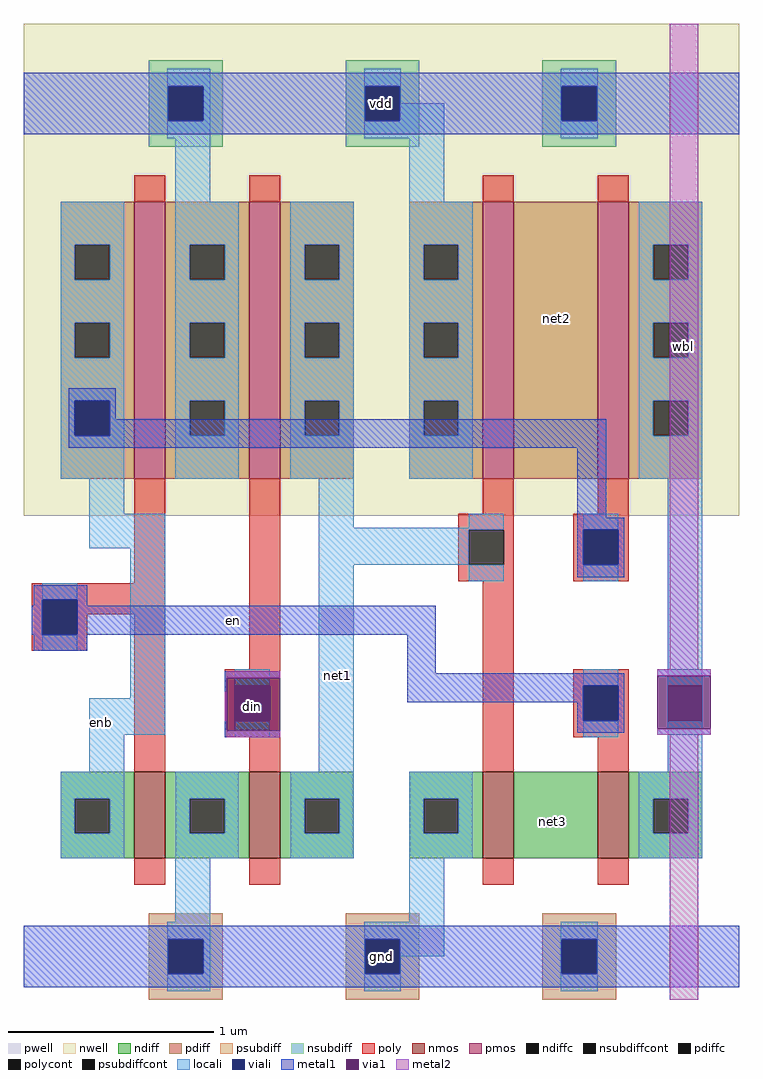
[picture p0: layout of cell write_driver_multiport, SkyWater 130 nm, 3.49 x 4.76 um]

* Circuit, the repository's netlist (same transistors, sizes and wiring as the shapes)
* SPICE3 file created from write_driver_multiport.ext - technology: sky130A


.subckt write_driver_multiport din en wbl vdd gnd
X0 wbl enb net2 vdd sky130_fd_pr__pfet_01v8 ad=0 pd=0 as=0 ps=0 w=1.35 l=0.15
X1 net1 din vdd vdd sky130_fd_pr__pfet_01v8 ad=0 pd=0 as=0 ps=0 w=1.35 l=0.15
X2 net2 net1 vdd vdd sky130_fd_pr__pfet_01v8 ad=0 pd=0 as=0 ps=0 w=1.35 l=0.15
X3 net3 net1 gnd gnd sky130_fd_pr__nfet_01v8 ad=0 pd=0 as=0 ps=0 w=0.42 l=0.15
X4 vdd en enb vdd sky130_fd_pr__pfet_01v8 ad=0 pd=0 as=0 ps=0 w=1.35 l=0.15
X5 net1 din gnd gnd sky130_fd_pr__nfet_01v8 ad=0 pd=0 as=0 ps=0 w=0.42 l=0.15
X6 wbl en net3 gnd sky130_fd_pr__nfet_01v8 ad=0 pd=0 as=0 ps=0 w=0.42 l=0.15
X7 gnd en enb gnd sky130_fd_pr__nfet_01v8 ad=0 pd=0 as=0 ps=0 w=0.42 l=0.15
.ends

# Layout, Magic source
magic
tech sky130A
magscale 1 2
<< nwell >>
rect 0 472 698 952
<< pwell >>
rect 122 0 194 84
rect 314 0 386 84
rect 506 0 578 84
<< nmos >>
rect 108 138 138 222
rect 220 138 250 222
rect 448 138 478 222
rect 560 138 590 222
<< pmos >>
rect 108 508 138 778
rect 220 508 250 778
rect 448 508 478 778
rect 560 508 590 778
<< ndiff >>
rect 36 196 108 222
rect 36 162 50 196
rect 84 162 108 196
rect 36 138 108 162
rect 138 196 220 222
rect 138 162 162 196
rect 196 162 220 196
rect 138 138 220 162
rect 250 196 322 222
rect 250 162 274 196
rect 308 162 322 196
rect 250 138 322 162
rect 376 196 448 222
rect 376 162 390 196
rect 424 162 448 196
rect 376 138 448 162
rect 478 138 560 222
rect 590 196 662 222
rect 590 162 614 196
rect 648 162 662 196
rect 590 138 662 162
<< pdiff >>
rect 36 736 108 778
rect 36 702 50 736
rect 84 702 108 736
rect 36 660 108 702
rect 36 626 50 660
rect 84 626 108 660
rect 36 584 108 626
rect 36 550 50 584
rect 84 550 108 584
rect 36 508 108 550
rect 138 736 220 778
rect 138 702 162 736
rect 196 702 220 736
rect 138 660 220 702
rect 138 626 162 660
rect 196 626 220 660
rect 138 584 220 626
rect 138 550 162 584
rect 196 550 220 584
rect 138 508 220 550
rect 250 736 322 778
rect 250 702 274 736
rect 308 702 322 736
rect 250 660 322 702
rect 250 626 274 660
rect 308 626 322 660
rect 250 584 322 626
rect 250 550 274 584
rect 308 550 322 584
rect 250 508 322 550
rect 376 736 448 778
rect 376 702 390 736
rect 424 702 448 736
rect 376 660 448 702
rect 376 626 390 660
rect 424 626 448 660
rect 376 584 448 626
rect 376 550 390 584
rect 424 550 448 584
rect 376 508 448 550
rect 478 508 560 778
rect 590 736 662 778
rect 590 702 614 736
rect 648 702 662 736
rect 590 660 662 702
rect 590 626 614 660
rect 648 626 662 660
rect 590 584 662 626
rect 590 550 614 584
rect 648 550 662 584
rect 590 508 662 550
<< ndiffc >>
rect 50 162 84 196
rect 162 162 196 196
rect 274 162 308 196
rect 390 162 424 196
rect 614 162 648 196
<< pdiffc >>
rect 50 702 84 736
rect 50 626 84 660
rect 50 550 84 584
rect 162 702 196 736
rect 162 626 196 660
rect 162 550 196 584
rect 274 702 308 736
rect 274 626 308 660
rect 274 550 308 584
rect 390 702 424 736
rect 390 626 424 660
rect 390 550 424 584
rect 614 702 648 736
rect 614 626 648 660
rect 614 550 648 584
<< psubdiff >>
rect 122 59 194 84
rect 122 25 141 59
rect 175 25 194 59
rect 122 0 194 25
rect 314 59 386 84
rect 314 25 333 59
rect 367 25 386 59
rect 314 0 386 25
rect 506 59 578 84
rect 506 25 525 59
rect 559 25 578 59
rect 506 0 578 25
<< nsubdiff >>
rect 122 891 194 916
rect 122 857 141 891
rect 175 857 194 891
rect 122 832 194 857
rect 314 891 386 916
rect 314 857 333 891
rect 367 857 386 891
rect 314 832 386 857
rect 506 891 578 916
rect 506 857 525 891
rect 559 857 578 891
rect 506 832 578 857
<< psubdiffcont >>
rect 141 25 175 59
rect 333 25 367 59
rect 525 25 559 59
<< nsubdiffcont >>
rect 141 857 175 891
rect 333 857 367 891
rect 525 857 559 891
<< poly >>
rect 108 778 138 804
rect 220 778 250 804
rect 448 778 478 804
rect 560 778 590 804
rect 108 406 138 508
rect 8 390 138 406
rect 8 356 18 390
rect 52 376 138 390
rect 52 356 62 376
rect 8 340 62 356
rect 108 222 138 376
rect 220 322 250 508
rect 448 474 478 508
rect 560 474 590 508
rect 424 458 478 474
rect 424 424 434 458
rect 468 424 478 458
rect 424 408 478 424
rect 536 458 590 474
rect 536 424 546 458
rect 580 424 590 458
rect 536 408 590 424
rect 196 306 250 322
rect 196 272 206 306
rect 240 272 250 306
rect 196 256 250 272
rect 220 222 250 256
rect 448 222 478 408
rect 536 306 590 322
rect 536 272 546 306
rect 580 272 590 306
rect 536 256 590 272
rect 560 222 590 256
rect 108 112 138 138
rect 220 112 250 138
rect 448 112 478 138
rect 560 112 590 138
<< polycont >>
rect 18 356 52 390
rect 434 424 468 458
rect 546 424 580 458
rect 206 272 240 306
rect 546 272 580 306
<< locali >>
rect 140 891 182 908
rect 140 857 141 891
rect 175 857 182 891
rect 140 840 182 857
rect 332 891 368 908
rect 332 857 333 891
rect 367 874 368 891
rect 524 891 560 908
rect 367 857 410 874
rect 332 840 410 857
rect 524 857 525 891
rect 559 857 560 891
rect 524 840 560 857
rect 148 778 182 840
rect 376 778 410 840
rect 36 736 98 778
rect 36 702 50 736
rect 84 702 98 736
rect 36 660 98 702
rect 36 626 50 660
rect 84 626 98 660
rect 36 584 98 626
rect 36 550 50 584
rect 84 550 98 584
rect 36 508 98 550
rect 148 736 210 778
rect 148 702 162 736
rect 196 702 210 736
rect 148 660 210 702
rect 148 626 162 660
rect 196 626 210 660
rect 148 584 210 626
rect 148 550 162 584
rect 196 550 210 584
rect 148 508 210 550
rect 260 736 322 778
rect 260 702 274 736
rect 308 702 322 736
rect 260 660 322 702
rect 260 626 274 660
rect 308 626 322 660
rect 260 584 322 626
rect 260 550 274 584
rect 308 550 322 584
rect 260 508 322 550
rect 376 736 438 778
rect 376 702 390 736
rect 424 702 438 736
rect 376 660 438 702
rect 376 626 390 660
rect 424 626 438 660
rect 376 584 438 626
rect 376 550 390 584
rect 424 550 438 584
rect 376 508 438 550
rect 600 736 662 778
rect 600 702 614 736
rect 648 702 662 736
rect 600 660 662 702
rect 600 626 614 660
rect 648 626 662 660
rect 600 584 662 626
rect 600 550 614 584
rect 648 550 662 584
rect 600 508 662 550
rect 64 474 98 508
rect 64 440 138 474
rect 18 390 52 406
rect 18 340 52 356
rect 104 294 138 440
rect 288 460 322 508
rect 434 460 468 474
rect 288 458 468 460
rect 288 424 434 458
rect 64 258 138 294
rect 206 306 240 322
rect 64 222 98 258
rect 206 256 240 272
rect 288 222 322 424
rect 434 408 468 424
rect 546 458 580 474
rect 546 408 580 424
rect 546 306 580 322
rect 546 256 580 272
rect 628 306 662 508
rect 628 222 662 272
rect 36 196 98 222
rect 36 162 50 196
rect 84 162 98 196
rect 36 138 98 162
rect 148 196 210 222
rect 148 162 162 196
rect 196 162 210 196
rect 148 138 210 162
rect 260 196 322 222
rect 260 162 274 196
rect 308 162 322 196
rect 260 138 322 162
rect 376 196 438 222
rect 376 162 390 196
rect 424 162 438 196
rect 376 138 438 162
rect 600 196 662 222
rect 600 162 614 196
rect 648 162 662 196
rect 600 138 662 162
rect 148 76 182 138
rect 376 76 410 138
rect 140 59 182 76
rect 140 25 141 59
rect 175 25 182 59
rect 140 8 182 25
rect 332 59 410 76
rect 332 25 333 59
rect 367 42 410 59
rect 524 59 560 76
rect 367 25 368 42
rect 332 8 368 25
rect 524 25 525 59
rect 559 25 560 59
rect 524 8 560 25
<< viali >>
rect 141 857 175 891
rect 333 857 367 891
rect 525 857 559 891
rect 50 550 84 584
rect 18 356 52 390
rect 206 272 240 306
rect 546 424 580 458
rect 546 272 580 306
rect 628 272 662 306
rect 141 25 175 59
rect 333 25 367 59
rect 525 25 559 59
<< metal1 >>
rect 0 891 698 904
rect 0 857 141 891
rect 175 857 333 891
rect 367 857 525 891
rect 559 857 698 891
rect 0 844 698 857
rect 44 584 90 596
rect 44 550 50 584
rect 84 566 90 584
rect 84 550 568 566
rect 44 538 568 550
rect 540 470 568 538
rect 540 458 586 470
rect 540 424 546 458
rect 580 424 586 458
rect 540 412 586 424
rect 10 390 62 404
rect 10 384 18 390
rect 8 356 18 384
rect 52 384 62 390
rect 52 356 402 384
rect 10 340 62 356
rect 196 314 250 320
rect 196 262 198 314
rect 374 318 402 356
rect 374 306 586 318
rect 374 290 546 306
rect 196 256 250 262
rect 540 272 546 290
rect 580 272 586 306
rect 540 260 586 272
rect 618 316 670 322
rect 618 258 670 264
rect 0 59 698 72
rect 0 25 141 59
rect 175 25 333 59
rect 367 25 525 59
rect 559 25 698 59
rect 0 12 698 25
<< via1 >>
rect 198 306 250 314
rect 198 272 206 306
rect 206 272 240 306
rect 240 272 250 306
rect 198 262 250 272
rect 618 306 670 316
rect 618 272 628 306
rect 628 272 662 306
rect 662 272 670 306
rect 618 264 670 272
<< metal2 >>
rect 630 322 658 952
rect 198 314 250 320
rect 196 272 198 300
rect 198 256 250 262
rect 618 316 670 322
rect 618 258 670 264
rect 630 0 658 258
<< labels >>
rlabel locali s 76 270 76 270 4 enb
rlabel locali s 306 316 306 316 4 net1
rlabel mvpsubdiff s 520 664 520 664 4 net2
rlabel mvpsubdiff s 516 174 516 174 4 net3
rlabel metal2 s 196 272 250 300 4 din
port 1 nsew
rlabel metal1 s 0 844 698 904 4 vdd
port 2 nsew
rlabel metal1 s 0 12 698 72 4 gnd
port 3 nsew
rlabel metal1 s 8 356 402 384 4 en
port 4 nsew
rlabel metal2 s 630 322 658 952 4 wbl
port 5 nsew
rlabel metal2 s 223 286 223 286 4 din
rlabel metal1 s 205 370 205 370 4 en
rlabel metal2 s 644 637 644 637 4 wbl
rlabel metal1 s 349 874 349 874 4 vdd
rlabel metal1 s 349 42 349 42 4 gnd
<< properties >>
string FIXED_BBOX 0 0 698 952
string GDS_FILE sram_0rw2r1w_4_16_sky130A.gds
string GDS_END 230060
string GDS_START 219904
<< end >>
